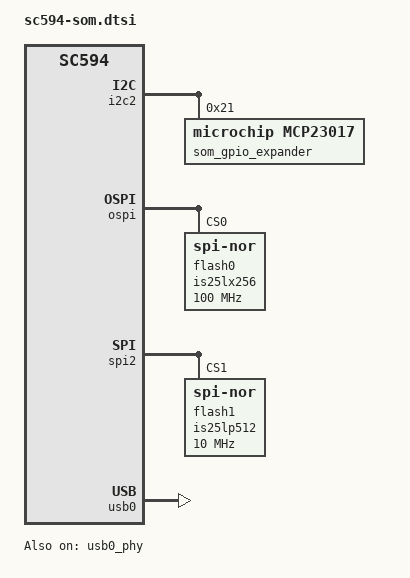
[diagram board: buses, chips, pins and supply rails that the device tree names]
// SPDX-License-Identifier: GPL-2.0-or-later
/*
 * (C) Copyright 2024 - Analog Devices, Inc.
 */

/dts-v1/;

#include "sc5xx.dtsi"
#include "sc59x.dtsi"

/{
	gic: interrupt-controller@310B2000 {
		compatible = "arm,cortex-a5-gic", "arm,cortex-a9-gic";
		#interrupt-cells = <3>;
		#address-cells = <0>;
		interrupt-controller;
		reg = <0x310B2000 0x1000>,
		      <0x310B4000 0x100>;
	};
};

&timer0 {
	clocks = <&clk ADSP_SC594_CLK_CGU0_SCLK0>;
};

&pinctrl0 {
	soc_defaults: soc_pins {
		bootph-pre-ram;
		adi,pins = <ADI_ADSP_PIN('A', 14) ADI_ADSP_PINFUNC_ALT0>, /* i2c */
		       <ADI_ADSP_PIN('A', 15) ADI_ADSP_PINFUNC_ALT0>,
		       <ADI_ADSP_PIN('F', 2) ADI_ADSP_PINFUNC_ALT0>, /* emmc */
		       <ADI_ADSP_PIN('F', 3) ADI_ADSP_PINFUNC_ALT0>,
		       <ADI_ADSP_PIN('F', 4) ADI_ADSP_PINFUNC_ALT0>,
		       <ADI_ADSP_PIN('F', 5) ADI_ADSP_PINFUNC_ALT0>,
		       <ADI_ADSP_PIN('F', 6) ADI_ADSP_PINFUNC_ALT0>,
		       <ADI_ADSP_PIN('F', 7) ADI_ADSP_PINFUNC_ALT0>,
		       <ADI_ADSP_PIN('F', 8) ADI_ADSP_PINFUNC_ALT0>,
		       <ADI_ADSP_PIN('F', 9) ADI_ADSP_PINFUNC_ALT0>,
		       <ADI_ADSP_PIN('F', 10) ADI_ADSP_PINFUNC_ALT0>,
		       <ADI_ADSP_PIN('F', 11) ADI_ADSP_PINFUNC_ALT0>,
		       <ADI_ADSP_PIN('F', 12) ADI_ADSP_PINFUNC_ALT0>;
	};

	ospi_default: ospi_pins {
		bootph-pre-ram;
		adi,pins = <ADI_ADSP_PIN('C', 8) ADI_ADSP_PINFUNC_ALT0>,
		       <ADI_ADSP_PIN('C', 9) ADI_ADSP_PINFUNC_ALT0>,
		       <ADI_ADSP_PIN('C', 10) ADI_ADSP_PINFUNC_ALT0>,
		       <ADI_ADSP_PIN('C', 11) ADI_ADSP_PINFUNC_ALT0>,
		       <ADI_ADSP_PIN('C', 12) ADI_ADSP_PINFUNC_ALT0>,
		       <ADI_ADSP_PIN('C', 13) ADI_ADSP_PINFUNC_ALT0>,
		       <ADI_ADSP_PIN('C', 14) ADI_ADSP_PINFUNC_ALT0>,
		       <ADI_ADSP_PIN('C', 15) ADI_ADSP_PINFUNC_ALT0>,
		       <ADI_ADSP_PIN('D', 0) ADI_ADSP_PINFUNC_ALT0>,
		       <ADI_ADSP_PIN('D', 1) ADI_ADSP_PINFUNC_ALT0>,
		       <ADI_ADSP_PIN('D', 4) ADI_ADSP_PINFUNC_ALT2>;
	};
};

&clk {
	compatible = "adi,sc594-clocks";
};

&uart0 {
	clocks = <&clk ADSP_SC594_CLK_CGU0_SCLK0>;
};

&wdog {
	clocks = <&clk ADSP_SC594_CLK_CGU0_SCLK0>;
};

&i2c0 {
	clocks = <&clk ADSP_SC594_CLK_CGU0_SCLK0>;
};

&i2c1 {
	clocks = <&clk ADSP_SC594_CLK_CGU0_SCLK0>;
};

&i2c2 {
	clocks = <&clk ADSP_SC594_CLK_CGU0_SCLK0>;

	som_gpio_expander: mcp23017@21 {
		compatible = "microchip,mcp23017";
		reg = <0x21>;
		gpio-controller;
		#gpio-cells = <2>;
		bootph-pre-ram;

		led1 {
			gpio-hog;
			gpios = <0 GPIO_ACTIVE_HIGH>;
			output-high;
			line-name = "led1-en";
			bootph-pre-ram;
		};

		led2 {
			gpio-hog;
			gpios = <1 GPIO_ACTIVE_HIGH>;
			output-high;
			line-name = "led2-en";
			bootph-pre-ram;
		};

		led3 {
			gpio-hog;
			gpios = <2 GPIO_ACTIVE_HIGH>;
			output-high;
			line-name = "led3-en";
			bootph-pre-ram;
		};

		spi2flash-cs {
			gpio-hog;
			gpios = <3 GPIO_ACTIVE_LOW>;
			output-high;
			line-name = "spi2flash-cs";
			bootph-pre-ram;
		};

		spi2d2-d3 {
			gpio-hog;
			gpios = <4 GPIO_ACTIVE_LOW>;
			output-high;
			line-name = "spi2d2-d3-en";
			bootph-pre-ram;
		};

		uart0 {
			gpio-hog;
			gpios = <5 GPIO_ACTIVE_LOW>;
			output-high;
			line-name = "uart0-en";
			bootph-pre-ram;
		};

		uart0-flow-en {
			gpio-hog;
			gpios = <6 GPIO_ACTIVE_LOW>;
			output-low;
			line-name = "uart0-flow-en";
			bootph-pre-ram;
		};

		ospiflash-cs {
			gpio-hog;
			gpios = <7 GPIO_ACTIVE_LOW>;
			output-high;
			line-name = "ospiflash-cs";
			bootph-pre-ram;
		};
	};
};

&ospi {
	status = "okay";

	clocks = <&clk ADSP_SC594_CLK_OSPI>;

	flash0: is25lx256@0 {
		#address-cells = <1>;
		#size-cells = <1>;
		compatible = "jedec,spi-nor", "is25lx256";
		reg = <0>;

		spi-max-frequency = <100000000>;
		cdns,spi-calib-frequency = <10000000>;

		spi-tx-bus-width = <8>;
		spi-rx-bus-width = <8>;

		tshsl-ns = <50>;
		tsd2d-ns = <50>;
		tchsh-ns = <4>;
		tslch-ns = <4>;
		bootph-pre-ram;

		cdns,phy;
	};
};

&spi2 {
	clocks = <&clk ADSP_SC594_CLK_SPI>;

	flash1: is25lp512@1 {
		#address-cells = <1>;
		#size-cells = <1>;
		compatible = "jedec,spi-nor", "is25lp512";
		reg = <1>;
		spi-tx-bus-width = <4>;
		spi-rx-bus-width = <4>;
		spi-max-frequency = <10000000>;
		bootph-pre-ram;
	};
};

&usb0_phy {
	status = "okay";
	clocks = <&clk ADSP_SC594_CLK_CGU0_SCLK0>;
	clock-names = "sclk0";
};

&usb0 {
	status = "okay";
};
